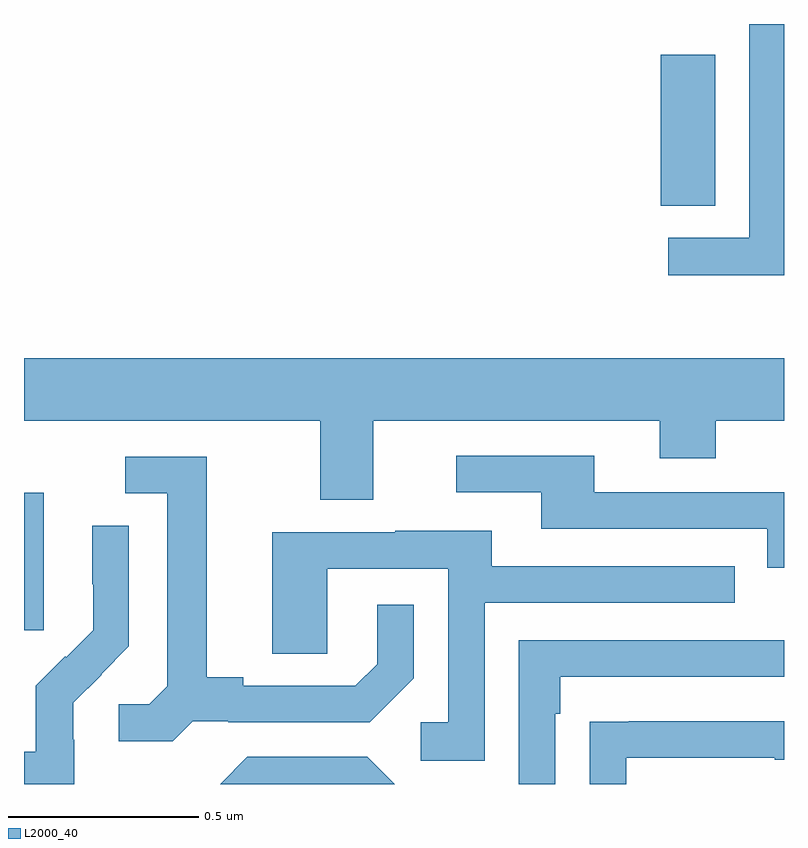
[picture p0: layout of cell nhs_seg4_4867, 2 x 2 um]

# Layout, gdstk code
import gdstk
lib = gdstk.Library(unit=1e-6, precision=1e-09)
def R(c, l, rs):  # rectangles x0, y0, x1, y1
    for r in rs: c.add(gdstk.rectangle(r[:2], r[2:], *l))
def P(c, l, *ps):  # polygons
    for p in ps: c.add(gdstk.Polygon(p, *l))
L2000_40 = (2000, 40)

nhs_seg4_4867 = lib.new_cell('nhs_seg4_4867')
R(nhs_seg4_4867, L2000_40, [(171,760.305,171.052,760.666), (172.676,761.422,172.819,761.819)])
P(nhs_seg4_4867, L2000_40, [(173,761.9),(172.908,761.9),(172.908,761.337),(172.695,761.337),(172.695,761.239),(173,761.239)],
  [(171.919,760.856),(172.673,760.856),(172.673,760.757),(172.821,760.757),(172.821,760.856),(173,760.856),(173,761.02),(171,761.02),(171,760.856),(171.779,760.856),(171.779,760.648),(171.919,760.648)],
  [(173,760.668),(172.501,760.668),(172.501,760.764),(172.137,760.764),(172.137,760.668),(172.361,760.668),(172.361,760.572),(172.956,760.572),(172.956,760.469),(173,760.469)],
  [(171.444,760.065),(171.538,760.065),(171.538,760.062),(171.91,760.062),(172.026,760.178),(172.026,760.372),(171.929,760.372),(171.929,760.215),(171.872,760.158),(171.577,760.158),(171.577,760.181),(171.481,760.181),(171.481,760.761),(171.267,760.761),(171.267,760.665),(171.377,760.665),(171.377,760.157),(171.33,760.11),(171.249,760.11),(171.249,760.013),(171.392,760.013)],
  [(171.132,760.017),(171.13,760.017),(171.13,760.114),(171.204,760.188),(171.203,760.189),(171.276,760.262),(171.276,760.58),(171.18,760.58),(171.18,760.426),(171.182,760.426),(171.182,760.304),(171.111,760.233),(171.108,760.236),(171.031,760.159),(171.031,759.985),(171,759.985),(171,759.9),(171.132,759.9)],
  [(172.212,760.377),(172.871,760.377),(172.871,760.473),(172.231,760.473),(172.231,760.567),(171.977,760.567),(171.977,760.563),(171.653,760.563),(171.653,760.243),(171.798,760.243),(171.798,760.467),(172.116,760.467),(172.116,760.062),(172.044,760.062),(172.044,759.961),(172.212,759.961)],
  [(172.398,760.085),(172.411,760.085),(172.411,760.182),(173,760.182),(173,760.278),(172.302,760.278),(172.302,759.9),(172.398,759.9)],
  [(172.585,759.969),(172.975,759.969),(172.975,759.964),(173,759.964),(173,760.065),(172.591,760.065),(172.591,760.064),(172.489,760.064),(172.489,759.9),(172.585,759.9)],
  [(171.903,759.972),(171.588,759.972),(171.516,759.9),(171.975,759.9)])

lib.write_gds('nhs_seg4_4867.gds')
